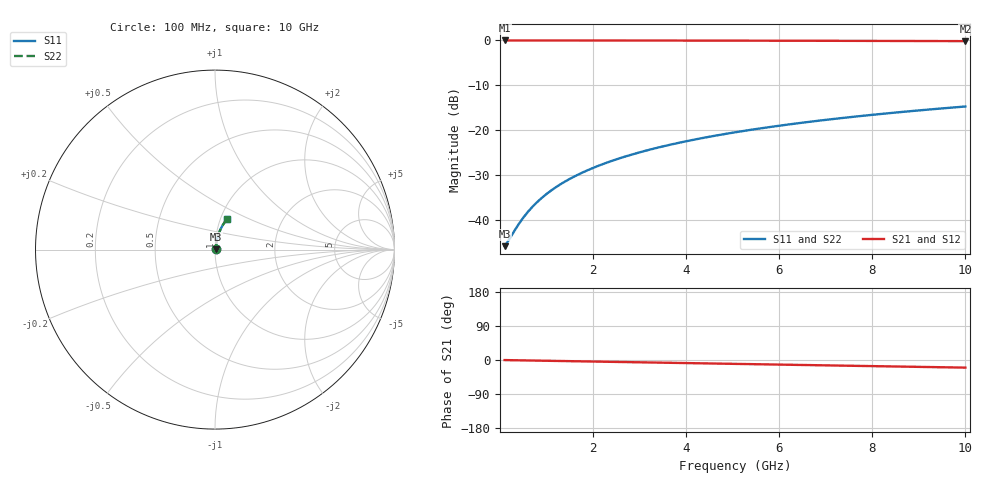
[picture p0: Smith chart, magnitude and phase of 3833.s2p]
# Hz S RI R 50.00
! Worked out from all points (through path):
!   100 points, 100 MHz to 10 GHz, reference 50 ohm
!   highest |S21| = -0.04 dB at 100 MHz (marker M1); lowest = -0.2 dB at 10 GHz (marker M2)
!   group delay of S21, straight-line fit = 5.59 ps
!   lowest |S11| = -45.9 dB at 100 MHz (marker M3), VSWR 1.01, Z = 50.5 + j0.188 ohm
!   |S11| at or under -10 dB: start of sweep to end of sweep
!   |S22| runs from -45.9 to -14.7 dB; largest |S21 - S12| = 0
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1e8  0.00475 0.00186  0.9953 -0.00352  0.9953 -0.00352  0.00475 0.00186
2e8  0.0048 0.00373  0.9952 -0.00704  0.9952 -0.00704  0.0048 0.00373
4e8  0.00492 0.00745  0.9951 -0.0141  0.9951 -0.0141  0.00492 0.00745
5e8  0.00499 0.00932  0.995 -0.0176  0.995 -0.0176  0.00499 0.00932
6e8  0.00508 0.0112  0.9949 -0.0211  0.9949 -0.0211  0.00508 0.0112
7e8  0.00517 0.013  0.9947 -0.0246  0.9947 -0.0246  0.00517 0.013
8e8  0.00528 0.0149  0.9946 -0.0281  0.9946 -0.0281  0.00528 0.0149
1e9  0.00554 0.0186  0.9943 -0.0352  0.9943 -0.0352  0.00554 0.0186
1.2e9  0.00585 0.0223  0.9939 -0.0422  0.9939 -0.0422  0.00585 0.0223
1.5e9  0.0064 0.0279  0.9933 -0.0527  0.9933 -0.0527  0.0064 0.0279
1.8e9  0.00708 0.0334  0.9925 -0.0632  0.9925 -0.0632  0.00708 0.0334
2.1e9  0.00786 0.039  0.9915 -0.0737  0.9915 -0.0737  0.00786 0.039
2.5e9  0.00909 0.0463  0.99 -0.0877  0.99 -0.0877  0.00909 0.0463
2.9e9  0.0105 0.0536  0.9883 -0.1016  0.9883 -0.1016  0.0105 0.0536
3.4e9  0.0126 0.0627  0.9858 -0.119  0.9858 -0.119  0.0126 0.0627
4.2e9  0.0166 0.077  0.9809 -0.1466  0.9809 -0.1466  0.0166 0.077
5.1e9  0.022 0.0928  0.9743 -0.1773  0.9743 -0.1773  0.022 0.0928
5.9e9  0.0276 0.1064  0.9674 -0.2043  0.9674 -0.2043  0.0276 0.1064
6.7e9  0.034 0.1198  0.9596 -0.231  0.9596 -0.231  0.034 0.1198
7.5e9  0.0411 0.1327  0.9509 -0.2573  0.9509 -0.2573  0.0411 0.1327
8.4e9  0.05 0.1467  0.9401 -0.2863  0.9401 -0.2863  0.05 0.1467
1e10  0.0677 0.17  0.9182 -0.3365  0.9182 -0.3365  0.0677 0.17
